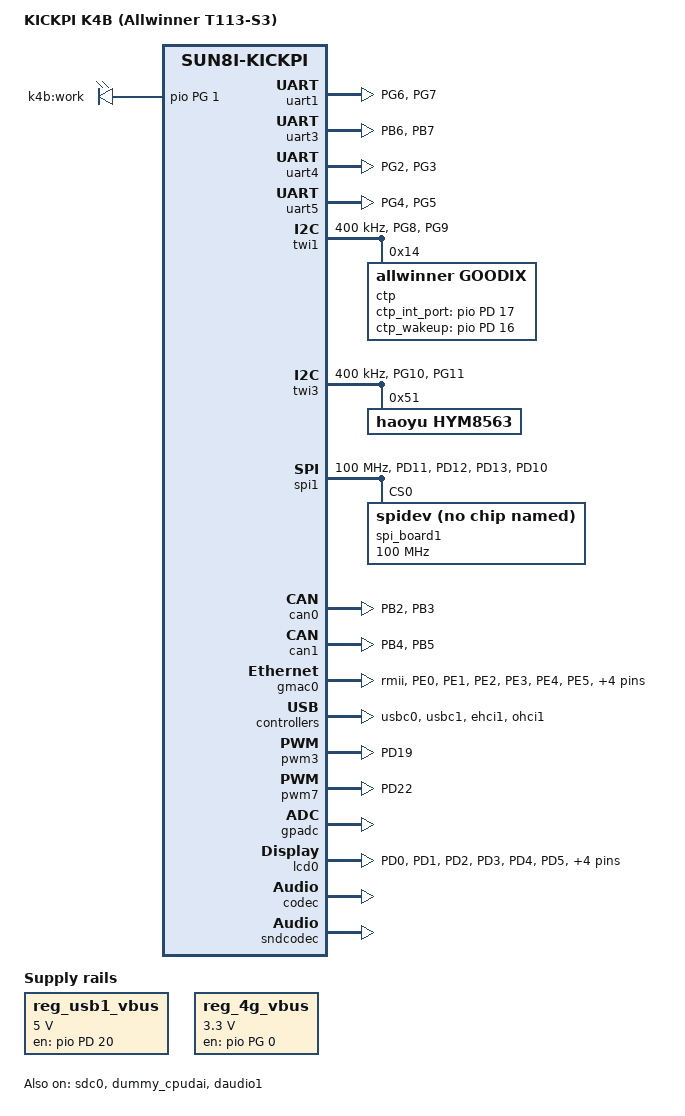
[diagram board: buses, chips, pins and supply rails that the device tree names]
/*
 * KICKPI K4B (Allwinner T113-S3) board dts
 *
 * 引脚分配依据：K4B_V1.2_20250213.pdf（doc/schematic/）
 *  - p7  SOC2：全板 GPIO 网络总表
 *  - p17 GPIO/DEBUG/RS485/RS232/KEY-ADC：30Pin 扩展座与调试口
 *  - p9  LCD：MIPI DSI 4-lane + CTP
 *  - p13 CAN：TCAN1044V-Q1 x2（3.3V）
 *  - p14 RMII：IP101GR 100M 以太网
 *  - p15 EXT-RTC：HYM8563TS + WORKING_LEDEN_H（蓝灯心跳）
 *
 * 30Pin 扩展座（JP1，与原理图/vendor pinout 图一致）：
 *   1  VCC3V3         2  PG12 I2S1-LRCK (alt TWI0_SCK/UART1_TX)
 *   3  PG5  UART5_RX  4  PG13 I2S1-BCLK (alt TWI0_SDA/UART1_RX)
 *   5  PG4  UART5_TX  6  PG14 I2S1-DIN0 (alt TWI2_SCK/UART1_RTS)
 *   7  PD14 GPIO     8  PG15 I2S1-DOUT0 (alt TWI2_SDA/UART1_CTS)
 *   9  GND          10  PG6  UART1_TX (RS485)
 *  11  USB_HOST_DP  12  PG7  UART1_RX (RS485)
 *  13  USB_HOST_DM  14  GND
 *  15/17 VCC5V       16  PG2  UART4_TX
 *  18  PG3  UART4_RX 19  PD12 SPI1_MOSI
 *  20  PD19 PWM3     21  PD13 SPI1_MISO
 *  22  PB3  CAN0_RX (alt TWI0_SCK/UART4_RX)  23  PD11 SPI1_CLK (alt UART3_RX)
 *  24  PB2  CAN0_TX (alt TWI0_SDA/UART4_TX)  25  PD10 SPI1_CS  (alt UART3_TX)
 *  26  PB4  CAN1_RX (alt TWI1_SCK/UART5_TX)  27  PG11 TWI3_SDA (EXTRTC)
 *  28  PB5  CAN1_TX (alt TWI1_SDA/UART5_RX)  29  PG10 TWI3_SCK (EXTRTC)
 *  30  LRADC/GPADC0 ADKEY0 (USER 按键)
 *
 * 板载资源：
 *  - 调试串口：UART3 PB6(TX)/PB7(RX)，3pin 座 CON1（ttyS3）
 *  - 以太网：RMII IP101GR，PE0-PE9，PHY 复位 PE13，EPHY 25M 输出 PE10
 *  - USB：USB0 OTG Type-C（ID 检测 PE12，VBUS 驱动 PD20）；USB1 → GL850G HUB
 *    （2x Type-A + RTL8723BU WiFi + 4G mini-PCIE，均 USB 总线，无 SDIO WiFi）
 *  - WiFi：RTL8723BU（USB），4G：mini-PCIE（PCIE_PWREN_H = PG0）
 *  - LCD：MIPI DSI 4-lane PD0-PD9；LCD_PWREN_H=PD18，LCD-RST=PD21，
 *    背光 PWM7=PD22；CTP(TWI1)=PG8/PG9，CTP-INT=PD17，CTP-RST=PD16
 *  - 音频：内置 codec，喇叭 PA SHDN#=PE11，耳机检测 HP-DET=PD15
 *  - USER 按键：GPADC0（ADKEY0）
 *  - 蓝色心跳 LED：WORKING_LEDEN_H = PG1（绿灯为电源直连，无软件控制）
 *  - CPU 供电：SY8088 固定 0.95V（无 PWM 调压，不支持内核 DVFS）
 */

/dts-v1/;

 /* optee used 7MB: SHM 2M: OS: 1M: TA:4M*/
/memreserve/ 0x41900000 0x00100000;
/* DSP used 1MB */
/* /memreserve/ 0x42000000 0x00100000; */

#include "sun8iw20p1-linux.dtsi"

/{
	model = "KICKPI K4B (Allwinner T113-S3)";
	compatible = "allwinner,t113", "allwinner,r528", "arm,sun8iw20p1";

	/* K4B: CPU 供电为 SY8088 固定 0.95V，无 PWM regulator（勿启用 DVFS） */

	reg_usb1_vbus: usb1-vbus {
		compatible = "regulator-fixed";
		regulator-name = "usb1-vbus";
		regulator-min-microvolt = <5000000>;
		regulator-max-microvolt = <5000000>;
		regulator-enable-ramp-delay = <1000>;
		/* USB-DRVVBUS：OTG Type-C 口 VBUS 开关使能 */
		gpio = <&pio PD 20 GPIO_ACTIVE_HIGH>;
		enable-active-high;
	};

	/* 4G mini-PCIE 电源使能：PCIE_PWREN_H = PG0（原理图 p7/p16），高有效 */
	reg_4g_vbus: regulator-4g {
		compatible = "regulator-fixed";
		regulator-name = "4g-vbus";
		regulator-min-microvolt = <3300000>;
		regulator-max-microvolt = <3300000>;
		regulator-always-on;
		gpio = <&pio PG 0 GPIO_ACTIVE_HIGH>;
		enable-active-high;
	};

	/* 板载指示灯：WORKING_LEDEN_H = PG1（原理图 p7），高电平点亮 */
	leds {
		compatible = "gpio-leds";

		work_led {
			label = "k4b:work";
			gpios = <&pio PG 1 GPIO_ACTIVE_HIGH>;
			default-state = "on";
			linux,default-trigger = "heartbeat";
		};
	};
};

&pio {
	sdc0_pins_a: sdc0@0 {
		allwinner,pins = "PF0", "PF1", "PF2",
				 "PF3", "PF4", "PF5";
		allwinner,function = "sdc0";
		allwinner,muxsel = <2>;
		allwinner,drive = <3>;
		allwinner,pull = <1>;
		pins = "PF0", "PF1", "PF2",
		       "PF3", "PF4", "PF5";
		function = "sdc0";
		drive-strength = <30>;
		bias-pull-up;
		power-source = <3300>;
	};

	sdc0_pins_b: sdc0@1 {
		pins = "PF0", "PF1", "PF2",
		       "PF3", "PF4", "PF5";
		function = "sdc0";
		drive-strength = <30>;
		bias-pull-up;
		power-source = <1800>;
	};

	sdc0_pins_c: sdc0@2 {
		pins = "PF0", "PF1", "PF2",
			"PF3", "PF4", "PF5";
		function = "gpio_in";
	};

	/* 以下两组在 K4B 上不实际使用（UART0 未引出、JTAG 不开），
	 * 但 sun8iw20p1-linux.dtsi 的 &sdc0 仍引用，必须保留 label
	 */
	sdc0_pins_d: sdc0@3 {
		pins = "PF2", "PF4";
		function = "uart0";
		drive-strength = <10>;
		bias-pull-up;
	};

	sdc0_pins_e: sdc0@4 {
		pins = "PF0", "PF1", "PF3",
			"PF5";
		function = "jtag";
		drive-strength = <10>;
		bias-pull-up;
	};

	/* SDC1 在 K4B 上被 UART4/UART5/LED/4G_EN 占用（PG0-PG5），节点已 disabled，
	 * 同样仅为满足 dtsi 的 phandle 引用而保留定义
	 */
	sdc1_pins_a: sdc1@0 {
		pins = "PG0", "PG1", "PG2",
		       "PG3", "PG4", "PG5";
		function = "sdc1";
		drive-strength = <30>;
		bias-pull-up;
	};

	sdc1_pins_b: sdc1@1 {
		pins = "PG0", "PG1", "PG2",
		       "PG3", "PG4", "PG5";
		function = "sdc1";
	};

	sdc2_pins_a: sdc2@0 {
		allwinner,pins = "PC2", "PC3", "PC4",
				 "PC5", "PC6", "PC7";
		allwinner,function = "sdc2";
		allwinner,muxsel = <3>;
		allwinner,drive = <3>;
		allwinner,pull = <1>;
		pins = "PC2", "PC3", "PC4",
			"PC5", "PC6", "PC7";
		function = "sdc2";
		drive-strength = <30>;
		bias-pull-up;
	};

	sdc2_pins_b: sdc2@1 {
		pins = "PC2", "PC3", "PC4",
		       "PC5", "PC6", "PC7";
		function = "gpio_in";
	};

	/* UART1 = RS485（PG6/PG7 两线，30Pin 座 10/12 脚） */
	uart1_pins_a: uart1_pins@0 {
		pins = "PG6", "PG7";
		function = "uart1";
		drive-strength = <10>;
		bias-pull-up;
	};

	uart1_pins_b: uart1_pins@1 {
		pins = "PG6", "PG7";
		function = "gpio_in";
	};

	/* UART3 = DEBUG 控制台（PB6/PB7，3pin 座） */
	uart3_pins_a: uart3_pins@0 {
		pins = "PB6", "PB7";
		function = "uart3";
		drive-strength = <10>;
		bias-pull-up;
	};

	uart3_pins_b: uart3_pins@1 {
		pins = "PB6", "PB7";
		function = "gpio_in";
	};

	/* UART4 = 30Pin 座 16/18 脚 */
	uart4_pins_a: uart4_pins@0 {
		pins = "PG2", "PG3";
		function = "uart4";
		drive-strength = <10>;
		bias-pull-up;
	};

	uart4_pins_b: uart4_pins@1 {
		pins = "PG2", "PG3";
		function = "gpio_in";
	};

	/* UART5 = RS232（PG4/PG5，30Pin 座 5/3 脚） */
	uart5_pins_a: uart5_pins@0 {
		pins = "PG4", "PG5";
		function = "uart5";
		drive-strength = <10>;
		bias-pull-up;
	};

	uart5_pins_b: uart5_pins@1 {
		pins = "PG4", "PG5";
		function = "gpio_in";
	};

	/* TWI1 = 电容触摸 CTP（PG8/PG9，LCD 座） */
	twi1_pins_a: twi1@0 {
		pins = "PG8", "PG9";
		function = "twi1";
		drive-strength = <10>;
	};

	twi1_pins_b: twi1@1 {
		pins = "PG8", "PG9";
		function = "gpio_in";
	};

	/* TWI3 = 板载 RTC HYM8563TS + 30Pin 座 27/29 脚（PG10/PG11） */
	twi3_pins_a: twi3@0 {
		pins = "PG10", "PG11";
		function = "twi3";
		drive-strength = <10>;
	};

	twi3_pins_b: twi3@1 {
		pins = "PG10", "PG11";
		function = "gpio_in";
	};

	/* SPI1 = 30Pin 座 19/21/23/25 脚（PD12/PD13/PD11/PD10） */
	spi1_pins_a: spi1@0 {
		pins = "PD11", "PD12", "PD13"; /* clk mosi miso */
		function = "spi1";
		drive-strength = <10>;
	};

	spi1_pins_b: spi1@1 {
		pins = "PD10"; /* cs */
		function = "spi1";
		drive-strength = <10>;
		bias-pull-up;   /* only CS should be pulled up */
	};

	spi1_pins_c: spi1@2 {
		allwinner,pins = "PD10", "PD11", "PD12", "PD13";
		allwinner,function = "gpio_in";
		allwinner,muxsel = <0>;
		drive-strength = <10>;
	};

	/* CAN0 = PB2/PB3（30Pin 座 24/22 脚），CAN1 = PB4/PB5（28/26 脚） */
	can0_pins_a: can0_pins@0 {
		pins = "PB2", "PB3";
		function = "can0";
		drive-strength = <10>;
		bias-pull-up;
	};

	can0_pins_b: can0_pins@1 {
		pins = "PB2", "PB3";
		function = "gpio_in";
	};

	can1_pins_a: can1_pins@0 {
		pins = "PB4", "PB5";
		function = "can1";
		drive-strength = <10>;
		bias-pull-up;
	};

	can1_pins_b: can1_pins@1 {
		pins = "PB4", "PB5";
		function = "gpio_in";
	};

	/* PWM3 = 30Pin 座 20 脚（PD19）；PWM7 = 背光（PD22） */
	pwm3_pin_a: pwm3@0 {
		pins = "PD19";
		function = "pwm3";
		drive-strength = <10>;
		bias-pull-up;
	};

	pwm3_pin_b: pwm3@1 {
		pins = "PD19";
		function = "gpio_in";
	};

	pwm7_pin_a: pwm7@0 {
		pins = "PD22";
		function = "pwm7";
		drive-strength = <10>;
		bias-pull-up;
	};

	pwm7_pin_b: pwm7@1 {
		pins = "PD22";
		function = "gpio_in";
	};

	/* RMII 以太网（IP101GR）+ PHY 复位 PE13 由 gmac 节点 gpio 控制 */
	gmac0_pins_a: gmac@0 {
		allwinner,pins = "PE0", "PE1", "PE2", "PE3", "PE4",
				 "PE5", "PE6", "PE7", "PE8", "PE9";
		allwinner,function = "gmac0";
		allwinner,muxsel = <8>;
		allwinner,drive = <1>;
		allwinner,pull = <0>;
	};

	gmac0_pins_b: gmac@1 {
		allwinner,pins = "PE0", "PE1", "PE2", "PE3", "PE4",
				 "PE5", "PE6", "PE7", "PE8", "PE9";
		allwinner,function = "gpio_in";
		allwinner,muxsel = <0>;
		allwinner,drive = <1>;
		allwinner,pull = <0>;
	};

	daudio1_pins_a: daudio1@0 {
		/* LRCK, BCLK */
		pins = "PG12", "PG13";
		function = "i2s1";
		drive-strength = <20>;
		bias-disable;
	};

	daudio1_pins_b: daudio1@1 {
		/* DIN0 */
		pins = "PG14";
		function = "i2s1_din";
		drive-strength = <20>;
		bias-disable;
	};

	daudio1_pins_c: daudio1@2 {
		/* DOUT0 */
		pins = "PG15";
		function = "i2s1_dout";
		drive-strength = <20>;
		bias-disable;
	};

	daudio1_pins_d: daudio1_sleep@0 {
		pins = "PG12", "PG13", "PG14", "PG15";
		function = "io_disabled";
		drive-strength = <20>;
		bias-disable;
	};

	dsi4lane_pins_a: dsi4lane@0 {
		allwinner,pins = "PD0", "PD1", "PD2", "PD3", "PD4", "PD5", "PD6", "PD7", "PD8", "PD9";
		allwinner,pname = "PD0", "PD1", "PD2", "PD3", "PD4", "PD5", "PD6", "PD7", "PD8", "PD9";
		allwinner,function = "dsi4lane";
		allwinner,muxsel = <4>;
		allwinner,drive = <3>;
		allwinner,pull = <0>;
	};

	dsi4lane_pins_b: dsi4lane@1 {
		allwinner,pins = "PD0", "PD1", "PD2", "PD3", "PD4", "PD5", "PD6", "PD7", "PD8", "PD9";
		allwinner,pname = "PD0", "PD1", "PD2", "PD3", "PD4", "PD5", "PD6", "PD7", "PD8", "PD9";
		allwinner,function = "dsi4lane_suspend";
		allwinner,muxsel = <7>;
		allwinner,drive = <1>;
		allwinner,pull = <0>;
	};
};

/* ============ 串口 ============ */
/* UART0 不用（K4B 调试口在 UART3；PE2/PE3 已被 RMII 占用，勿启用） */
&uart0 {
	status = "disabled";
};

/* UART1 = RS485 */
&uart1 {
	pinctrl-names = "default", "sleep";
	pinctrl-0 = <&uart1_pins_a>;
	pinctrl-1 = <&uart1_pins_b>;
	status = "okay";
};

/* UART3 = 调试控制台 ttyS3 */
&uart3 {
	pinctrl-names = "default", "sleep";
	pinctrl-0 = <&uart3_pins_a>;
	pinctrl-1 = <&uart3_pins_b>;
	status = "okay";
};

/* UART4 = 30Pin 扩展 */
&uart4 {
	pinctrl-names = "default", "sleep";
	pinctrl-0 = <&uart4_pins_a>;
	pinctrl-1 = <&uart4_pins_b>;
	status = "okay";
};

/* UART5 = RS232 */
&uart5 {
	pinctrl-names = "default", "sleep";
	pinctrl-0 = <&uart5_pins_a>;
	pinctrl-1 = <&uart5_pins_b>;
	status = "okay";
};

&uart2 {
	status = "disabled";
};

/* ============ 存储 ============ */
/* K4B 启动介质：SPI NAND（SPI0/PC 组）或 eMMC（SDC2/PC 组），两者共用 PC2-PC7，
 * 板上按贴片二选一；另有 SD 卡（SDC0/PF 组，PF6 卡检测）。
 * 我们从 SD 卡启动，sdc2 与 spi0 均保持关闭。
 * 若你的板子是 eMMC 版且想用板载系统 → 启用 sdc2；
 * 若是 SPI NAND 版 → 启用 spi0（此时务必保持 sdc2 关闭，否则引脚冲突）。
 */
&sdc2 {
	status = "disabled";
};

&sdc0 {
	bus-width = <4>;
	cd-gpios = <&pio PF 6 (GPIO_ACTIVE_LOW | GPIO_PULL_UP)>;
	cd-used-24M;
	cap-sd-highspeed;
	no-sdio;
	no-mmc;
	sunxi-power-save-mode;
	max-frequency = <150000000>;
	ctl-spec-caps = <0x8>;
	status = "okay";
};

/* K4B WiFi 为 USB (RTL8723BU)，无 SDIO，关闭 sdc1 */
&sdc1 {
	status = "disabled";
};

/* ============ I2C ============ */
/* twi0/twi2 不用：twi0 引脚 PB2/PB3 已被 CAN0 占用；PE12/PE13 被 USB-ID/RMII 复位占用。
 * 30Pin 座 2/4 脚的 TWI0 复用（PG12/PG13）与 I2S1 冲突，默认走 I2S1，需要时自行切换。 */
&twi0 {
	status = "disabled";
};

&twi2 {
	status = "disabled";
};

/* TWI1 = CTP 触摸（PG8/PG9） */
&twi1 {
	clock-frequency = <400000>;
	pinctrl-0 = <&twi1_pins_a>;
	pinctrl-1 = <&twi1_pins_b>;
	pinctrl-names = "default", "sleep";
	status = "okay";

	ctp@14 {
		compatible = "allwinner,goodix";
		device_type = "ctp";
		reg = <0x14>;
		status = "okay";
		ctp_name = "gt9xxnew_ts";
		ctp_twi_id = <0x1>;
		ctp_twi_addr = <0x14>;
		ctp_screen_max_x = <0x320>;
		ctp_screen_max_y = <0x1e0>;
		ctp_revert_x_flag = <0x0>;
		ctp_revert_y_flag = <0x0>;
		ctp_exchange_x_y_flag = <0x0>;
		/* CTP-INT = PD17, CTP-RST = PD16（K4B 原理图 p7/p9） */
		ctp_int_port = <&pio PD 17 GPIO_ACTIVE_HIGH>;
		ctp_wakeup = <&pio PD 16 GPIO_ACTIVE_HIGH>;
	};
};

/* TWI3 = 板载 RTC HYM8563TS（30Pin 座 27/29 脚同总线） */
&twi3 {
	clock-frequency = <400000>;
	pinctrl-0 = <&twi3_pins_a>;
	pinctrl-1 = <&twi3_pins_b>;
	pinctrl-names = "default", "sleep";
	status = "okay";

	hym8563@51 {
		compatible = "haoyu,hym8563";
		reg = <0x51>;
		status = "okay";
	};
};

/* ============ SPI1 ============ */
&spi1 {
	clock-frequency = <100000000>;
	pinctrl-0 = <&spi1_pins_a &spi1_pins_b>;
	pinctrl-1 = <&spi1_pins_c>;
	pinctrl-names = "default", "sleep";
	spi_slave_mode = <0>;
	spi1_cs_number = <1>;
	spi1_cs_bitmap = <1>;
	status = "okay";

	/* 通用 spidev 设备（/dev/spidev1.0），30Pin 座 19/21/23/25 */
	spi_board1@0 {
		device_type = "spi_board1";
		compatible = "rohm,dh2228fv";
		spi-max-frequency = <0x5f5e100>;
		reg = <0x0>;
		spi-rx-bus-width = <0x4>;
		spi-tx-bus-width = <0x4>;
		status = "okay";
	};
};

&spi0 {
	status = "disabled";
};

/* ============ CAN ============ */
/* T113 CAN 控制器节点（dtsi 无预置，这里补全）。
 * 驱动：patch/linux 内 sun4i_can.c（allwinner,sunxi-t113-can）
 * 收发器：TCAN1044V-Q1 3.3V（原理图 p13），终端电阻由座内跳帽选择 */
&soc {
	can0: can@02504000 {
		compatible = "allwinner,sunxi-t113-can";
		reg = <0x0 0x02504000 0x0 0x400>;
		interrupts = <GIC_SPI 21 IRQ_TYPE_LEVEL_HIGH>;
		clocks = <&ccu CLK_BUS_CAN0>;
		clock-names = "can0";
		resets = <&ccu RST_BUS_CAN0>;
		pinctrl-names = "default", "sleep";
		pinctrl-0 = <&can0_pins_a>;
		pinctrl-1 = <&can0_pins_b>;
		status = "okay";
	};

	can1: can@02504400 {
		compatible = "allwinner,sunxi-t113-can";
		reg = <0x0 0x02504400 0x0 0x400>;
		interrupts = <GIC_SPI 22 IRQ_TYPE_LEVEL_HIGH>;
		clocks = <&ccu CLK_BUS_CAN1>;
		clock-names = "can1";
		resets = <&ccu RST_BUS_CAN1>;
		pinctrl-names = "default", "sleep";
		pinctrl-0 = <&can1_pins_a>;
		pinctrl-1 = <&can1_pins_b>;
		status = "okay";
	};
};

/* ============ 以太网（RMII + IP101GR） ============ */
&gmac0 {
	pinctrl-0 = <&gmac0_pins_a>;
	pinctrl-1 = <&gmac0_pins_b>;
	pinctrl-names = "default", "sleep";
	phy-mode = "rmii";
	use_ephy25m = <1>;
	tx-delay = <7>;
	rx-delay = <31>;
	phy-rst = <&pio PE 13 GPIO_ACTIVE_HIGH>;
	status = "okay";
};

/* ============ USB ============ */
/* USB0 = OTG Type-C（ID=PE12），VBUS 开关 = PD20（reg_usb1_vbus） */
&usbc0 {
	device_type = "usbc0";
	usb_port_type = <0x2>;
	usb_detect_type = <0x1>;
	usb_detect_mode = <0>;
	usb_id_gpio = <&pio PE 12 GPIO_ACTIVE_HIGH>;
	enable-active-high;
	usb_det_vbus_gpio = <&pio PD 20 GPIO_ACTIVE_HIGH>;
	usb_wakeup_suspend = <0>;
	usb_serial_unique = <0>;
	usb_serial_number = "20080411";
	rndis_wceis = <1>;
	status = "okay";
};

&ehci0 {
	drvvbus-supply = <&reg_usb1_vbus>;
};

&ohci0 {
	drvvbus-supply = <&reg_usb1_vbus>;
};

/* USB1 → GL850G HUB（2x Type-A + RTL8723BU + 4G），下行 VBUS 由 HUB 管理 */
&usbc1 {
	device_type = "usbc1";
	usb_port_type = <0x01>;
	sb_detect_type = <0x1>;
	usb_regulator_io = "nocare";
	usb_wakeup_suspend = <0>;
	status = "okay";
};

&ehci1 {
	status = "okay";
};

&ohci1 {
	status = "okay";
};

/* ============ PWM ============ */
/* pwm3 = 30Pin 座 20 脚（PD19）；K4B 无 PWM 稳压器，勿将其用于 CPU 供电 */
&pwm3 {
	pinctrl-names = "active", "sleep";
	pinctrl-0 = <&pwm3_pin_a>;
	pinctrl-1 = <&pwm3_pin_b>;
	status = "okay";
};

/* pwm7 = LCD 背光（PD22） */
&pwm7 {
	pinctrl-names = "active", "sleep";
	pinctrl-0 = <&pwm7_pin_a>;
	pinctrl-1 = <&pwm7_pin_b>;
	status = "okay";
};

/* ============ ADC 按键（USER 键，GPADC0/ADKEY0） ============ */
&gpadc {
	channel_num = <1>;
	channel_select = <0x1>;
	channel_data_select = <0>;
	channel_compare_select = <0x1>;
	channel_cld_select = <0x1>;
	channel_chd_select = <0>;
	channel0_compare_lowdata = <1700000>;
	channel0_compare_higdata = <1200000>;
	key_cnt = <1>;
	/* USER 键按下时 ADKEY0 经肖特基二极管到地，约 0.3V（可按实测微调） */
	key0_vol = <300>;
	key0_val = <28>; /* KEY_ENTER */
	status = "okay";
};

/* ============ 显示 ============ */
&disp {
	disp_init_enable         = <1>;
	disp_mode                = <0>;

	screen0_output_type      = <1>;  /* K4B 无 HDMI，LCD 输出 */
	screen0_output_mode      = <4>;
	screen1_output_type      = <0>;
	screen1_output_mode      = <4>;

	dev0_output_type         = <1>;
	dev0_output_mode         = <4>;
	dev0_screen_id           = <0>;
	dev0_do_hpd              = <0>;

	dev1_output_type         = <0>;
	dev1_output_mode         = <4>;
	dev1_screen_id           = <1>;
	dev1_do_hpd              = <0>;

	def_output_dev           = <0>;
	hdmi_mode_check          = <1>;

	fb0_format               = <0>;
	fb0_width                = <0>;  /* 跟随 panel 分辨率 */
	fb0_height               = <0>;

	fb1_format               = <0>;
	fb1_width                = <0>;
	fb1_height               = <0>;
	chn_cfg_mode             = <1>;

	disp_para_zone           = <1>;
};

/* 默认启用 Note3 (S6E3FA0) MIPI 4-lane 屏驱动。
 * K4B LCD 控制脚：LCD_PWREN_H=PD18、LCD-RST=PD21、背光 PWM7=PD22。
 * 切换 LVDS/RGB 模板见 doc/kickpi_wiki/K4B_引脚分配分析.md。 */
&lcd0 {
	lcd_used            = <1>;

	lcd_driver_name     = "s6e3fa0_1080p_video";
	lcd_if              = <4>;

	lcd_x               = <1080>;
	lcd_y               = <1920>;
	lcd_width           = <62>;
	lcd_height          = <110>;
	lcd_dclk_freq       = <150>;

	/* Note3 S6E3FA0: HBP36/HPW10/HFP162 VBP3/VPW2/VFP13 @60fps
	 * allwinner lcd_hbp/lcd_vbp INCLUDE pulse width */
	lcd_hbp             = <46>;
	lcd_ht              = <1288>;
	lcd_hspw            = <10>;
	lcd_vbp             = <5>;
	lcd_vt              = <1938>;
	lcd_vspw            = <2>;

	/* AMOLED: 无 PWM 背光，亮度经 DCS 0x51/AID */
	lcd_pwm_used        = <0>;

	lcd_dsi_lane        = <4>;
	lcd_dsi_if          = <0>;
	lcd_dsi_format      = <0>;
	lcd_dsi_te          = <0>;
	lcd_frm             = <0>;
	lcd_io_phase        = <0>;
	lcd_gamma_en        = <0>;
	lcd_bright_curve_en = <0>;
	lcd_cmap_en         = <0>;

	/* lcd_gpio_0: LCD-RST (PD21)；lcd_gpio_1: LCD_PWREN_H (PD18) */
	lcd_gpio_0 = <&pio PD 21 GPIO_ACTIVE_HIGH>;
	lcd_gpio_1 = <&pio PD 18 GPIO_ACTIVE_HIGH>;
	pinctrl-0 = <&dsi4lane_pins_a>;
	pinctrl-1 = <&dsi4lane_pins_b>;
};

/* ==== LVDS 模板（1366x768 内嵌屏，需要时取消注释并停用上面的 DSI 块） ====
&lcd0 {
	lcd_used            = <1>;
	lcd_driver_name     = "default_lcd";
	lcd_backlight       = <50>;
	lcd_if              = <3>;
	lcd_x               = <1366>;
	lcd_y               = <768>;
	lcd_dclk_freq       = <70>;
	lcd_pwm_used        = <1>;
	lcd_pwm_ch          = <7>;
	lcd_pwm_freq        = <50000>;
	lcd_pwm_pol         = <1>;
	lcd_hbp             = <160>;
	lcd_ht              = <1440>;
	lcd_hspw            = <32>;
	lcd_vbp             = <23>;
	lcd_vt              = <800>;
	lcd_vspw            = <6>;
	lcd_lvds_if         = <0>;
	lcd_lvds_colordepth = <1>;
	lcd_lvds_mode       = <0>;
	lcd_frm             = <0>;
	pinctrl-0 = <&lvds0_pins_a>;
	pinctrl-1 = <&lvds0_pins_b>;
};
*/

/* ============ 音频 ============ */
&codec {
	mic1gain 		= <0x1F>;
	mic2gain 		= <0x1F>;
	mic3gain 		= <0x1F>;
	adcdrc_cfg		= <0x0>;
	adchpf_cfg		= <0x1>;
	dacdrc_cfg		= <0x0>;
	dachpf_cfg		= <0x0>;
	digital_vol 	= <0x00>;
	lineout_vol 	= <0x1a>;
	headphonegain	= <0x03>;
	pa_level 		= <0x01>;
	pa_pwr_level 	= <0x01>;
	pa_msleep_time 	= <0x78>;
	/* K4B 喇叭 PA = LY8006/AD51652（原理图 p10），SHDN = PE11，高电平工作
	 * 若实测无声，改为 GPIO_ACTIVE_LOW 再试（不同批次 PA 极性可能不同）
	 */
	gpio-spk	= <&pio PE 11 GPIO_ACTIVE_HIGH>;
	playback_cma	= <128>;
	capture_cma	= <256>;
	status = "okay";
};

&sndcodec {
	hp_detect_case	= <0x00>;
	jack_enable		= <0x01>;
	status = "okay";
};

&dummy_cpudai {
	playback_cma	= <128>;
	capture_cma		= <256>;
	status			= "okay";
};

/* K4B 无 DMIC 阵列 */
&dmic {
	status = "disabled";
};

&dmic_codec {
	status = "disabled";
};

&sounddmic {
	status = "disabled";
};

/* I2S1 引出到 30Pin 座 2/4/6/8 脚（PG12/PG13/PG14/PG15），无 MCLK 输出脚 */
&daudio1 {
	mclk_div 	= <0x00>;
	frametype 	= <0x00>;
	tdm_config 	= <0x01>;
	sign_extend 	= <0x00>;
	msb_lsb_first 	= <0x00>;
	pcm_lrck_period = <0x80>;
	slot_width_select = <0x20>;
	pinctrl-names   = "default", "sleep";
	pinctrl-0       = <&daudio1_pins_a &daudio1_pins_b &daudio1_pins_c>;
	pinctrl-1       = <&daudio1_pins_d>;
	pinctrl_used	= <0x1>;
	status = "okay";
};

&sounddaudio1 {
	status = "okay";
	daudio1_master: simple-audio-card,codec {
		/* dummy codec: 仅输出 I2S 波形到扩展座 */
	};
};

/* SPDIF 未引出（PG18 不存在） */
&spdif {
	status = "disabled";
};

&soundspdif {
	status = "disabled";
};

/* daudio0/ac108 为 MQ 板配置，K4B 不用 */
&daudio0 {
	status = "disabled";
};

/* ============ TV-OUT ============ */
/* 原理图只有 TVOUT 的偏置/参考电压网络（p5/p6），板上没有 CVBS 输出座，
 * 30Pin 与 LCD 座也未引 TV 引脚，故关闭
 */
&tv0 {
	status = "disabled";
};

/* ============ 摄像头：K4B 未引出 CSI ============ */
&vind0 {
	status = "disabled";
};

&vinc0 {
	status = "disabled";
};

&vinc1 {
	status = "disabled";
};

/* ============ WiFi/BT：RTL8723BU 走 USB（GL850G HUB 下行），无需 dts 节点 ============
 * MQ 板的 rfkill/btlpm/sdio-wlan 方案不适用，K4B 不定义这些节点。 */

/* K4B 无红外接收头 */
&s_cir0 {
	status = "disabled";
};

&ir1 {
	status = "disabled";
};

/* K4B 无电阻触摸（TP-X/Y 悬空） */
&rtp {
	status = "disabled";
};

/* K4B 无 WS2812 LED（PF2 为 SD CLK） */
&ledc {
	status = "disabled";
};
